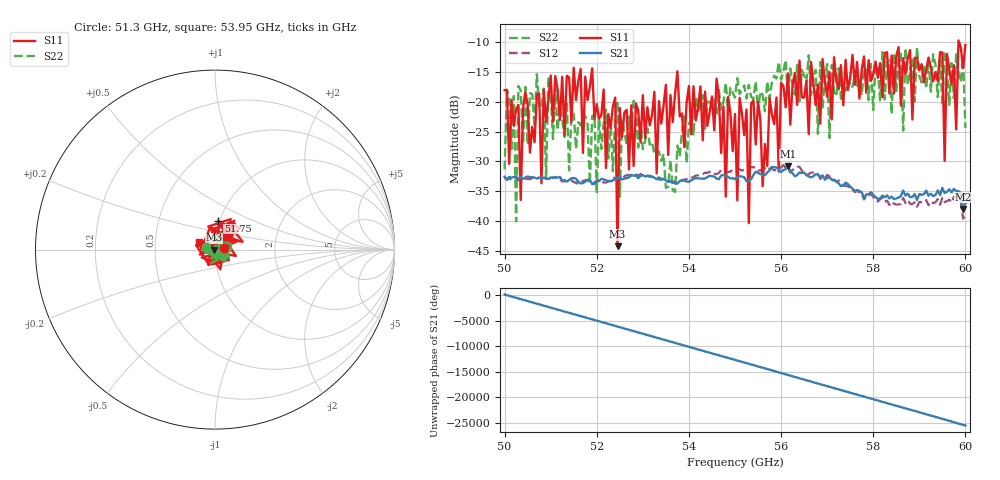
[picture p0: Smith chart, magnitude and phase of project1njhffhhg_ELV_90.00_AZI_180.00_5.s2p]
! 11/24/2026 10:05:39 AM
! C:\ANRITSUVNA\TEMP\TEMP.S2P
! CHANNEL.1
! TR.MEASUREMENT
! RAW.DATA
# HZ S RI R 50.0
! FREQ.HZ  S11RE  S11IM  S21RE  S21IM  S12RE  S12IM  S22RE  S22IM
!; PortSelection: Port_12
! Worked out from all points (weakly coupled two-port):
!   201 points, 50 GHz to 60 GHz, reference 50 ohm
!   highest |S21| = -30.83 dB at 56.15 GHz (marker M1); lowest = -38.0 dB at 59.95 GHz (marker M2)
!   lowest |S11| = -44.2 dB at 52.45 GHz (marker M3), VSWR 1.01, Z = 49.4 - j0.0464 ohm
!   |S11| at or under -10 dB: start of sweep to 59.85 GHz; 59.86325 GHz to end of sweep
!   |S22| runs from -40.1 to -10.8 dB; largest |S21 - S12| = 0.044
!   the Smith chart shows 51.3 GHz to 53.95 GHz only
!   S11 on the Smith chart (normalised r, x): 51.3 GHz: 1.11, +0.01; 51.75 GHz: 0.98, +0.33; 53.95 GHz: 0.83, +0.07
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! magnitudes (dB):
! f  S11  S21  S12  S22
! 50 GHz  -18.0  -32.6  -32.7  -31.3
! 50.2 GHz  -24.0  -32.6  -33.0  -19.0
! 50.25 GHz  -21.2  -32.5  -32.8  -40.1
! 50.35 GHz  -36.5  -32.7  -32.8  -18.1
! 50.45 GHz  -18.4  -32.7  -33.0  -17.5
! 51.3 GHz  -25.5  -33.1  -33.3  -25.9
! 51.7 GHz  -28.6  -33.6  -33.3  -22.2
! 51.75 GHz  -15.8  -33.4  -33.2  -22.4
! 52.4 GHz  -19.3  -33.0  -32.8  -22.6
! 52.45 GHz  -44.2  -32.8  -33.0  -20.2
! 52.5 GHz  -21.0  -32.6  -33.1  -36.0
! 53.35 GHz  -19.9  -33.0  -32.7  -28.4
! 53.95 GHz  -20.1  -33.4  -33.0  -30.3
! 55 GHz  -22.0  -33.0  -31.4  -19.3
! 55.25 GHz  -21.3  -33.3  -31.5  -19.4
! 55.3 GHz  -40.4  -33.3  -31.3  -17.1
! 55.35 GHz  -20.3  -33.0  -31.0  -19.2
! 56.15 GHz  -15.2  -30.8  -31.1  -19.2
! 56.7 GHz  -16.8  -32.5  -31.9  -16.0
! 58.35 GHz  -18.6  -36.2  -37.3  -13.0
! 59.95 GHz  -14.3  -38.0  -39.6  -12.7
! 60 GHz  -10.4  -37.1  -38.9  -24.4
